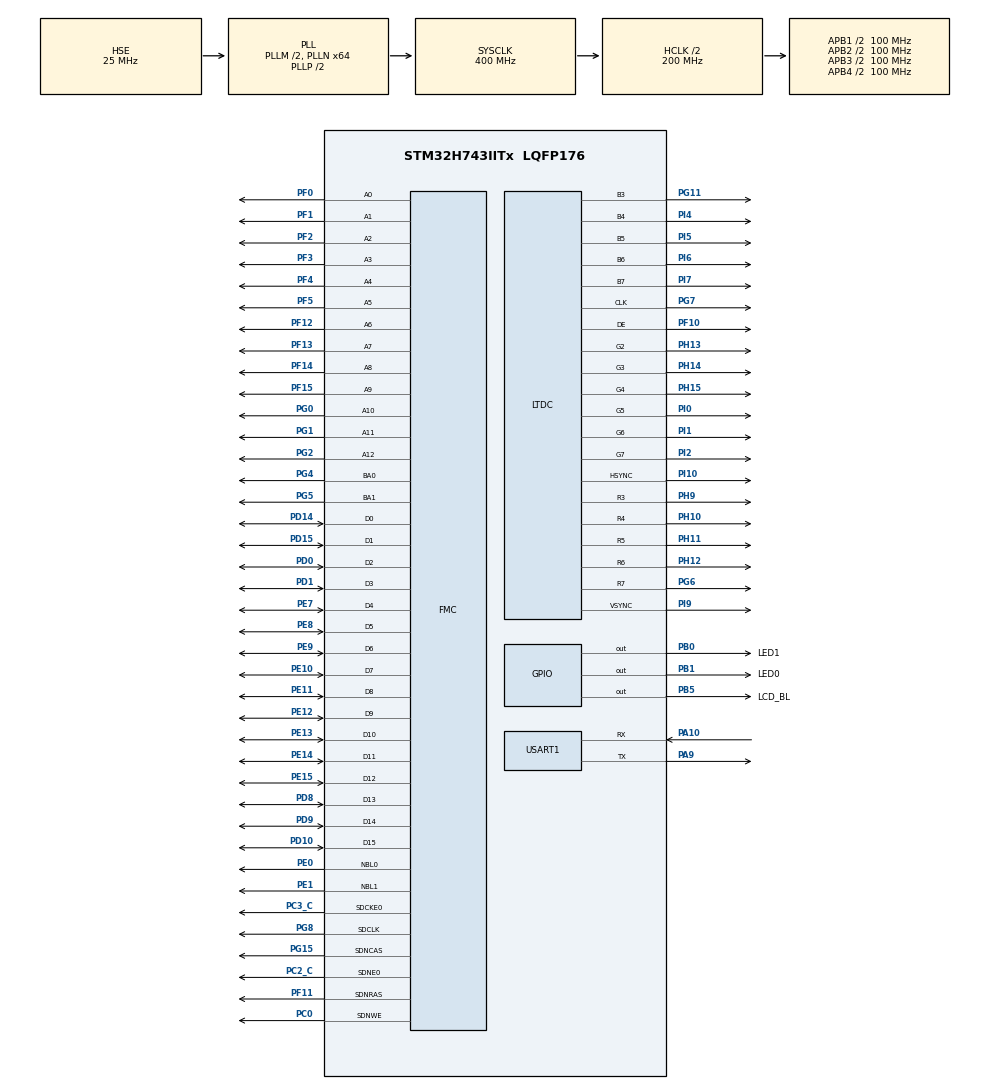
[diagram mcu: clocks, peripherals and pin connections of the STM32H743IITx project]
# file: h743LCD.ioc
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DMA2D.ColorMode=DMA2D_OUTPUT_RGB565
FMC.CASLatency1=FMC_SDRAM_CAS_LATENCY_2
FMC.ColumnBitsNumber1=FMC_SDRAM_COLUMN_BITS_NUM_9
FMC.ExitSelfRefreshDelay1=8
FMC.LoadToActiveDelay1=2
FMC.RCDDelay1=2
FMC.RPDelay1=2
FMC.RPDelay2=2
FMC.ReadBurst1=FMC_SDRAM_RBURST_ENABLE
FMC.ReadBurst2=FMC_SDRAM_RBURST_ENABLE
FMC.ReadPipeDelay1=FMC_SDRAM_RPIPE_DELAY_0
FMC.RowCycleDelay1=6
FMC.RowCycleDelay2=6
FMC.SDClockPeriod1=FMC_SDRAM_CLOCK_PERIOD_2
FMC.SDClockPeriod2=FMC_SDRAM_CLOCK_PERIOD_2
FMC.SelfRefreshTime1=6
FMC.WriteRecoveryTime1=4
LTDC.ActiveH=272
LTDC.ActiveW=480
LTDC.Alpha_L0=255
LTDC.BlendingFactor1_L0=LTDC_BLENDING_FACTOR1_CA
LTDC.BlendingFactor2_L0=LTDC_BLENDING_FACTOR2_CA
LTDC.FBStartAdress_L0=0xC0000000
LTDC.HBP=40
LTDC.HFP=5
LTDC.HSync=1
LTDC.ImageHeight_L0=272
LTDC.ImageWidth_L0=480
LTDC.Layers=0
LTDC.PCPolarity=LTDC_PCPOLARITY_IPC
LTDC.PixelFormat_L0=LTDC_PIXEL_FORMAT_RGB565
LTDC.VBP=8
LTDC.VFP=8
LTDC.VSync=1
LTDC.WindowX1_L0=480
LTDC.WindowY1_L0=272
Mcu.Family=STM32H7
Mcu.Name=STM32H743IITx
Mcu.Package=LQFP176
NVIC.PriorityGroup=NVIC_PRIORITYGROUP_4
NVIC.USART1_IRQn=true\:0\:0\:false\:false\:true\:true\:true
PA10.Mode=Asynchronous
PA10.Signal=USART1_RX
PA9.Mode=Asynchronous
PA9.Signal=USART1_TX
PB0.GPIO_Label=LED1
PB0.GPIO_ModeDefaultOutputPP=GPIO_MODE_OUTPUT_PP
PB0.GPIO_PuPd=GPIO_PULLUP
PB0.GPIO_Speed=GPIO_SPEED_FREQ_HIGH
PB0.Signal=GPIO_Output
PB1.GPIO_Label=LED0
PB1.GPIO_ModeDefaultOutputPP=GPIO_MODE_OUTPUT_PP
PB1.GPIO_PuPd=GPIO_PULLUP
PB1.GPIO_Speed=GPIO_SPEED_FREQ_HIGH
PB1.Signal=GPIO_Output
PB5.GPIO_Label=LCD_BL
PB5.GPIO_PuPd=GPIO_PULLUP
PB5.GPIO_Speed=GPIO_SPEED_FREQ_HIGH
PB5.Signal=GPIO_Output
PC0.Signal=FMC_SDNWE
PC14-OSC32_IN\ (OSC32_IN).Mode=LSE-External-Oscillator
PC14-OSC32_IN\ (OSC32_IN).Signal=RCC_OSC32_IN
PC15-OSC32_OUT\ (OSC32_OUT).Mode=LSE-External-Oscillator
PC15-OSC32_OUT\ (OSC32_OUT).Signal=RCC_OSC32_OUT
PC2_C.Mode=SdramChipSelect1_1
PC2_C.Signal=FMC_SDNE0
PC3_C.Mode=SdramChipSelect1_1
PC3_C.Signal=FMC_SDCKE0
PD0.Signal=FMC_D2_DA2
PD1.Signal=FMC_D3_DA3
PD10.Signal=FMC_D15_DA15
PD14.Signal=FMC_D0_DA0
PD15.Signal=FMC_D1_DA1
PD8.Signal=FMC_D13_DA13
PD9.Signal=FMC_D14_DA14
PE0.Signal=FMC_NBL0
PE1.Signal=FMC_NBL1
PE10.Signal=FMC_D7_DA7
PE11.Signal=FMC_D8_DA8
PE12.Signal=FMC_D9_DA9
PE13.Signal=FMC_D10_DA10
PE14.Signal=FMC_D11_DA11
PE15.Signal=FMC_D12_DA12
PE7.Signal=FMC_D4_DA4
PE8.Signal=FMC_D5_DA5
PE9.Signal=FMC_D6_DA6
PF0.Signal=FMC_A0
PF1.Signal=FMC_A1
PF10.GPIO_Speed=GPIO_SPEED_FREQ_VERY_HIGH
PF10.Mode=RGB565
PF10.Signal=LTDC_DE
PF11.Signal=FMC_SDNRAS
PF12.Signal=FMC_A6
PF13.Signal=FMC_A7
PF14.Signal=FMC_A8
PF15.Signal=FMC_A9
PF2.Signal=FMC_A2
PF3.Signal=FMC_A3
PF4.Signal=FMC_A4
PF5.Signal=FMC_A5
PG0.Signal=FMC_A10
PG1.Signal=FMC_A11
PG11.GPIO_Speed=GPIO_SPEED_FREQ_VERY_HIGH
PG11.Mode=RGB565
PG11.Signal=LTDC_B3
PG15.Signal=FMC_SDNCAS
PG2.Signal=FMC_A12
PG4.Signal=FMC_A14_BA0
PG5.Signal=FMC_A15_BA1
PG6.GPIO_Speed=GPIO_SPEED_FREQ_VERY_HIGH
PG6.Mode=RGB565
PG6.Signal=LTDC_R7
PG7.GPIO_Speed=GPIO_SPEED_FREQ_VERY_HIGH
PG7.Mode=RGB565
PG7.Signal=LTDC_CLK
PG8.Signal=FMC_SDCLK
PH0-OSC_IN\ (PH0).Mode=HSE-External-Oscillator
PH0-OSC_IN\ (PH0).Signal=RCC_OSC_IN
PH1-OSC_OUT\ (PH1).Mode=HSE-External-Oscillator
PH1-OSC_OUT\ (PH1).Signal=RCC_OSC_OUT
PH10.GPIO_Speed=GPIO_SPEED_FREQ_VERY_HIGH
PH10.Mode=RGB565
PH10.Signal=LTDC_R4
PH11.GPIO_Speed=GPIO_SPEED_FREQ_VERY_HIGH
PH11.Mode=RGB565
PH11.Signal=LTDC_R5
PH12.GPIO_Speed=GPIO_SPEED_FREQ_VERY_HIGH
PH12.Mode=RGB565
PH12.Signal=LTDC_R6
PH13.GPIO_Speed=GPIO_SPEED_FREQ_VERY_HIGH
PH13.Mode=RGB565
PH13.Signal=LTDC_G2
PH14.GPIO_Speed=GPIO_SPEED_FREQ_VERY_HIGH
PH14.Mode=RGB565
PH14.Signal=LTDC_G3
PH15.GPIO_Speed=GPIO_SPEED_FREQ_VERY_HIGH
PH15.Mode=RGB565
PH15.Signal=LTDC_G4
PH9.GPIO_Speed=GPIO_SPEED_FREQ_VERY_HIGH
PH9.Mode=RGB565
PH9.Signal=LTDC_R3
PI0.GPIO_Speed=GPIO_SPEED_FREQ_VERY_HIGH
PI0.Mode=RGB565
PI0.Signal=LTDC_G5
PI1.GPIO_Speed=GPIO_SPEED_FREQ_VERY_HIGH
PI1.Mode=RGB565
PI1.Signal=LTDC_G6
PI10.GPIO_Speed=GPIO_SPEED_FREQ_VERY_HIGH
PI10.Mode=RGB565
PI10.Signal=LTDC_HSYNC
PI2.GPIO_Speed=GPIO_SPEED_FREQ_VERY_HIGH
PI2.Mode=RGB565
PI2.Signal=LTDC_G7
PI4.GPIO_Speed=GPIO_SPEED_FREQ_VERY_HIGH
PI4.Mode=RGB565
PI4.Signal=LTDC_B4
PI5.GPIO_Speed=GPIO_SPEED_FREQ_VERY_HIGH
PI5.Mode=RGB565
PI5.Signal=LTDC_B5
PI6.GPIO_Speed=GPIO_SPEED_FREQ_VERY_HIGH
PI6.Mode=RGB565
PI6.Signal=LTDC_B6
PI7.GPIO_Speed=GPIO_SPEED_FREQ_VERY_HIGH
PI7.Mode=RGB565
PI7.Signal=LTDC_B7
PI9.GPIO_Speed=GPIO_SPEED_FREQ_VERY_HIGH
PI9.Mode=RGB565
PI9.Signal=LTDC_VSYNC
ProjectManager.HeapSize=0x200
ProjectManager.StackSize=0x400
ProjectManager.TargetToolchain=STM32CubeIDE
RCC.ADCFreq_Value=50390625
RCC.APB1Freq_Value=100000000
RCC.APB2Freq_Value=100000000
RCC.APB3Freq_Value=100000000
RCC.APB4Freq_Value=100000000
RCC.CortexFreq_Value=400000000
RCC.D1PPRE=RCC_APB3_DIV2
RCC.D2PPRE1=RCC_APB1_DIV2
RCC.D2PPRE2=RCC_APB2_DIV2
RCC.D3PPRE=RCC_APB4_DIV2
RCC.DIVM1=2
RCC.DIVM3=1
RCC.DIVN1=64
RCC.DIVN3=9
RCC.DIVQ1=4
RCC.DIVR3=5
RCC.FMCCLockSelection=RCC_FMCCLKSOURCE_PLL
RCC.HCLKFreq_Value=200000000
RCC.HPRE=RCC_HCLK_DIV2
RCC.HSE_VALUE=25000000
RCC.PLL2FRACN=0
RCC.PLL3FRACN=0
RCC.PLLFRACN=0
RCC.PLLSourceVirtual=RCC_PLLSOURCE_HSE
RCC.SYSCLKFreq_VALUE=400000000
RCC.SYSCLKSource=RCC_SYSCLKSOURCE_PLLCLK
RCC.USBFreq_Value=200000000
SH.FMC_A0.0=FMC_A0,13b-sda1
SH.FMC_A1.0=FMC_A1,13b-sda1
SH.FMC_A10.0=FMC_A10,13b-sda1
SH.FMC_A11.0=FMC_A11,13b-sda1
SH.FMC_A12.0=FMC_A12,13b-sda1
SH.FMC_A14_BA0.0=FMC_BA0,FourSdramBanks1
SH.FMC_A15_BA1.0=FMC_BA1,FourSdramBanks1
SH.FMC_A2.0=FMC_A2,13b-sda1
SH.FMC_A3.0=FMC_A3,13b-sda1
SH.FMC_A4.0=FMC_A4,13b-sda1
SH.FMC_A5.0=FMC_A5,13b-sda1
SH.FMC_A6.0=FMC_A6,13b-sda1
SH.FMC_A7.0=FMC_A7,13b-sda1
SH.FMC_A8.0=FMC_A8,13b-sda1
SH.FMC_A9.0=FMC_A9,13b-sda1
SH.FMC_D0_DA0.0=FMC_D0,sd-16b-d1
SH.FMC_D10_DA10.0=FMC_D10,sd-16b-d1
SH.FMC_D11_DA11.0=FMC_D11,sd-16b-d1
SH.FMC_D12_DA12.0=FMC_D12,sd-16b-d1
SH.FMC_D13_DA13.0=FMC_D13,sd-16b-d1
SH.FMC_D14_DA14.0=FMC_D14,sd-16b-d1
SH.FMC_D15_DA15.0=FMC_D15,sd-16b-d1
SH.FMC_D1_DA1.0=FMC_D1,sd-16b-d1
SH.FMC_D2_DA2.0=FMC_D2,sd-16b-d1
SH.FMC_D3_DA3.0=FMC_D3,sd-16b-d1
SH.FMC_D4_DA4.0=FMC_D4,sd-16b-d1
SH.FMC_D5_DA5.0=FMC_D5,sd-16b-d1
SH.FMC_D6_DA6.0=FMC_D6,sd-16b-d1
SH.FMC_D7_DA7.0=FMC_D7,sd-16b-d1
SH.FMC_D8_DA8.0=FMC_D8,sd-16b-d1
SH.FMC_D9_DA9.0=FMC_D9,sd-16b-d1
SH.FMC_NBL0.0=FMC_NBL0,Sd2ByteEnable1
SH.FMC_NBL1.0=FMC_NBL1,Sd2ByteEnable1
SH.FMC_SDCLK.0=FMC_SDCLK,13b-sda1
SH.FMC_SDNCAS.0=FMC_SDNCAS,13b-sda1
SH.FMC_SDNRAS.0=FMC_SDNRAS,13b-sda1
SH.FMC_SDNWE.0=FMC_SDNWE,13b-sda1
USART1.VirtualMode-Asynchronous=VM_ASYNC
VP_DMA2D_VS_DMA2D.Mode=DMA2D_Activate
board=custom

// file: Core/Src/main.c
/* USER CODE BEGIN Header */
/**
 ******************************************************************************
 * @file           : main.c
 * @brief          : Main program body
 ******************************************************************************
 * @attention
 *
 * <h2><center>&copy; Copyright (c) 2020 STMicroelectronics.
 * All rights reserved.</center></h2>
 *
 * This software component is licensed by ST under BSD 3-Clause license,
 * the "License"; You may not use this file except in compliance with the
 * License. You may obtain a copy of the License at:
 *                        opensource.org/licenses/BSD-3-Clause
 *
 ******************************************************************************
 */
/* USER CODE END Header */
#include "main.h"
#include "dma2d.h"
#include "ltdc.h"
#include "usart.h"
#include "gpio.h"
#include "fmc.h"

/* USER CODE BEGIN Includes */
#include <lvgl_examples/src/lv_demo_widgets/lv_demo_widgets.h>
#include "var.h"
#include "lvgl.h"
#include "lcd.h"
#include "ltdc.h"
#include "touch.h"
#include "delay.h"
#include "porting/lv_port_disp.h"
#include "porting/lv_port_indev.h"
#include "lv_lib_qrcode/lv_qrcode.h"
/* USER CODE END Includes */

void SystemClock_Config(void);

/* USER CODE BEGIN 0 */
#ifdef __GNUC__
#define PUTCHAR_PROTOTYPE int __io_putchar(int ch)
#else
#define PUTCHAR_PROTOTYPE int fputc(int ch, FILE *f)
#endif

PUTCHAR_PROTOTYPE {
	HAL_UART_Transmit(&huart1, (uint8_t*) &ch, 1, HAL_MAX_DELAY);
	return ch;
}
/* USER CODE END 0 */

int main(void) {
	/* USER CODE BEGIN 1 */
	Cache_Enable();					//打开L1-Cache
	/* USER CODE END 1 */

	/* MCU Configuration--------------------------------------------------------*/

	/* Reset of all peripherals, Initializes the Flash interface and the Systick. */
	HAL_Init();

	/* Configure the system clock */
	SystemClock_Config();

	/* USER CODE BEGIN SysInit */
	delay_init(400);
	/* USER CODE END SysInit */

	/* Initialize all configured peripherals */
	MX_GPIO_Init();
	MX_LTDC_Init();
	MX_FMC_Init();
	MX_USART1_UART_Init();
	MX_DMA2D_Init();
	/* USER CODE BEGIN 2 */

	HAL_LTDC_SetAddress(&hltdc, (uint32_t) ltdc_lcd_framebuf, 0);
	HAL_LTDC_SetWindowPosition(&hltdc, 0, 0, 0);
	HAL_LTDC_SetWindowSize(&hltdc, 480, 272, 0);
	LCD_Init();
	LCD_LED(1);				//点亮背光
	printf("w:%d,h:%d\r\n", lcddev.width, lcddev.height);
	LCD_Clear(WHITE);
	tp_dev.init();
	lv_init();

	lv_port_disp_init();

	lv_port_indev_init();

	lv_demo_widgets();
	/* USER CODE END 2 */

	/* Infinite loop */
	/* USER CODE BEGIN WHILE */
	while (1) {
		tp_dev.scan(0);
		if (led_task_timer >= 1000) {
			led_task_timer = 0;
			HAL_GPIO_TogglePin(GPIOB, GPIO_PIN_1);
		}
		if (lv_task_timer >= 10) {
			lv_task_timer = 0;
			lv_task_handler();
		}

		/* USER CODE END WHILE */

	}
}

void SystemClock_Config(void) {
	RCC_OscInitTypeDef RCC_OscInitStruct = { 0 };
	RCC_ClkInitTypeDef RCC_ClkInitStruct = { 0 };
	RCC_PeriphCLKInitTypeDef PeriphClkInitStruct = { 0 };

	/** Supply configuration update enable
	 */
	HAL_PWREx_ConfigSupply(PWR_LDO_SUPPLY);
	/** Configure the main internal regulator output voltage
	 */
	__HAL_PWR_VOLTAGESCALING_CONFIG(PWR_REGULATOR_VOLTAGE_SCALE1);

	while (!__HAL_PWR_GET_FLAG(PWR_FLAG_VOSRDY)) {
	}
	/** Macro to configure the PLL clock source
	 */
	__HAL_RCC_PLL_PLLSOURCE_CONFIG(RCC_PLLSOURCE_HSE);
	/** Initializes the RCC Oscillators according to the specified parameters
	 * in the RCC_OscInitTypeDef structure.
	 */
	RCC_OscInitStruct.OscillatorType = RCC_OSCILLATORTYPE_HSE;
	RCC_OscInitStruct.HSEState = RCC_HSE_ON;
	RCC_OscInitStruct.PLL.PLLState = RCC_PLL_ON;
	RCC_OscInitStruct.PLL.PLLSource = RCC_PLLSOURCE_HSE;
	RCC_OscInitStruct.PLL.PLLM = 2;
	RCC_OscInitStruct.PLL.PLLN = 64;
	RCC_OscInitStruct.PLL.PLLP = 2;
	RCC_OscInitStruct.PLL.PLLQ = 4;
	RCC_OscInitStruct.PLL.PLLR = 2;
	RCC_OscInitStruct.PLL.PLLRGE = RCC_PLL1VCIRANGE_3;
	RCC_OscInitStruct.PLL.PLLVCOSEL = RCC_PLL1VCOWIDE;
	RCC_OscInitStruct.PLL.PLLFRACN = 0;
	if (HAL_RCC_OscConfig(&RCC_OscInitStruct) != HAL_OK) {
		Error_Handler();
	}
	/** Initializes the CPU, AHB and APB buses clocks
	 */
	RCC_ClkInitStruct.ClockType = RCC_CLOCKTYPE_HCLK | RCC_CLOCKTYPE_SYSCLK | RCC_CLOCKTYPE_PCLK1 | RCC_CLOCKTYPE_PCLK2 | RCC_CLOCKTYPE_D3PCLK1
			| RCC_CLOCKTYPE_D1PCLK1;
	RCC_ClkInitStruct.SYSCLKSource = RCC_SYSCLKSOURCE_PLLCLK;
	RCC_ClkInitStruct.SYSCLKDivider = RCC_SYSCLK_DIV1;
	RCC_ClkInitStruct.AHBCLKDivider = RCC_HCLK_DIV2;
	RCC_ClkInitStruct.APB3CLKDivider = RCC_APB3_DIV2;
	RCC_ClkInitStruct.APB1CLKDivider = RCC_APB1_DIV2;
	RCC_ClkInitStruct.APB2CLKDivider = RCC_APB2_DIV2;
	RCC_ClkInitStruct.APB4CLKDivider = RCC_APB4_DIV2;

	if (HAL_RCC_ClockConfig(&RCC_ClkInitStruct, FLASH_LATENCY_2) != HAL_OK) {
		Error_Handler();
	}
	PeriphClkInitStruct.PeriphClockSelection = RCC_PERIPHCLK_LTDC | RCC_PERIPHCLK_USART1 | RCC_PERIPHCLK_FMC;
	PeriphClkInitStruct.PLL3.PLL3M = 1;
	PeriphClkInitStruct.PLL3.PLL3N = 9;
	PeriphClkInitStruct.PLL3.PLL3P = 2;
	PeriphClkInitStruct.PLL3.PLL3Q = 2;
	PeriphClkInitStruct.PLL3.PLL3R = 5;
	PeriphClkInitStruct.PLL3.PLL3RGE = RCC_PLL3VCIRANGE_3;
	PeriphClkInitStruct.PLL3.PLL3VCOSEL = RCC_PLL3VCOWIDE;
	PeriphClkInitStruct.PLL3.PLL3FRACN = 0;
	PeriphClkInitStruct.FmcClockSelection = RCC_FMCCLKSOURCE_PLL;
	PeriphClkInitStruct.Usart16ClockSelection = RCC_USART16CLKSOURCE_D2PCLK2;
	if (HAL_RCCEx_PeriphCLKConfig(&PeriphClkInitStruct) != HAL_OK) {
		Error_Handler();
	}
}

void Error_Handler(void) {
	__disable_irq();
	while (1) {
	}
}

/************************ (C) COPYRIGHT STMicroelectronics *****END OF FILE****/
